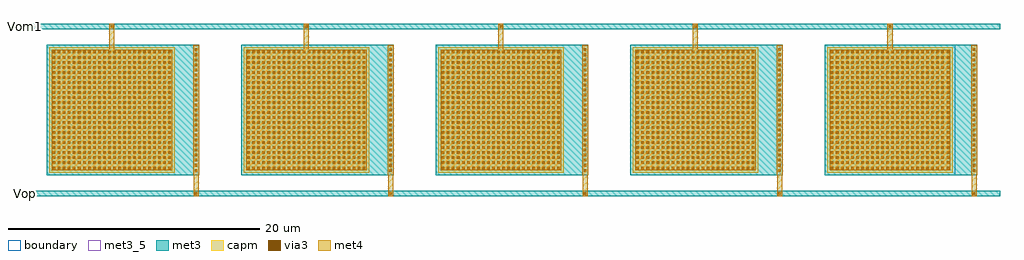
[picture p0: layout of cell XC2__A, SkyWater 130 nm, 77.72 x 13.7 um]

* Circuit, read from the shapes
.subckt XC2__A Vom1 Vop
XC1 Vom1 Vop sky130_fd_pr__cap_mim_m3_1 w=10 l=10 m=5
.ends

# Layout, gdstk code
import gdstk
lib = gdstk.Library(unit=1e-6, precision=1e-09)
def R(c, l, rs):  # rectangles x0, y0, x1, y1
    for r in rs: c.add(gdstk.rectangle(r[:2], r[2:], *l))
def A(c, l, x, y, w, h, nx, ny, dx, dy):  # array of equal rectangles
    R(c, l, [(x+i*dx, y+j*dy, x+i*dx+w, y+j*dy+h) for i in range(nx) for j in range(ny)])
met3_5 = (70, 5)
met3 = (70, 20)
via3 = (70, 44)
met4 = (71, 20)
capm = (89, 44)
boundary = (235, 4)

sky130_fd_pr__cap_mim_m3 = lib.new_cell('sky130_fd_pr__cap_mim_m3_1_DHLNXX')
A(sky130_fd_pr__cap_mim_m3, met3, -37.06, -5.2, 12.16, 10.4, 5, 1, 15.49, 0)
A(sky130_fd_pr__cap_mim_m3, via3, -25.26, -4.9, 0.2, 0.2, 5, 25, 15.49, 0.4)
A(sky130_fd_pr__cap_mim_m3, via3, -36.56, -4.7, 0.2, 0.2, 24, 24, 0.4, 0.4)
A(sky130_fd_pr__cap_mim_m3, via3, -21.07, -4.7, 0.2, 0.2, 24, 24, 0.4, 0.4)
A(sky130_fd_pr__cap_mim_m3, via3, -5.58, -4.7, 0.2, 0.2, 24, 24, 0.4, 0.4)
A(sky130_fd_pr__cap_mim_m3, via3, 9.91, -4.7, 0.2, 0.2, 24, 24, 0.4, 0.4)
A(sky130_fd_pr__cap_mim_m3, via3, 25.4, -4.7, 0.2, 0.2, 24, 24, 0.4, 0.4)
A(sky130_fd_pr__cap_mim_m3, met4, -25.4, -5.14, 0.48, 10.28, 5, 1, 15.49, 0)
A(sky130_fd_pr__cap_mim_m3, met4, -36.665, -4.805, 9.61, 9.61, 5, 1, 15.49, 0)
A(sky130_fd_pr__cap_mim_m3, capm, -36.86, -5, 10, 10, 5, 1, 15.49, 0)
R(sky130_fd_pr__cap_mim_m3, boundary, [(24.9,-5.2,35.3,5.2)])
sky130_fd_pr__cap_mim_m3.add(gdstk.Label('C2_0', (-25.16,0), layer=71, texttype=5))
sky130_fd_pr__cap_mim_m3.add(gdstk.Label('C1_0', (-31.86,0), layer=71, texttype=5))
sky130_fd_pr__cap_mim_m3.add(gdstk.Label('C2_1', (-9.67,0), layer=71, texttype=5))
sky130_fd_pr__cap_mim_m3.add(gdstk.Label('C1_1', (-16.37,0), layer=71, texttype=5))
sky130_fd_pr__cap_mim_m3.add(gdstk.Label('C2_2', (5.82,0), layer=71, texttype=5))
sky130_fd_pr__cap_mim_m3.add(gdstk.Label('C1_2', (-0.88,0), layer=71, texttype=5))
sky130_fd_pr__cap_mim_m3.add(gdstk.Label('C2_3', (21.31,0), layer=71, texttype=5))
sky130_fd_pr__cap_mim_m3.add(gdstk.Label('C1_3', (14.61,0), layer=71, texttype=5))
sky130_fd_pr__cap_mim_m3.add(gdstk.Label('C2_4', (36.8,0), layer=71, texttype=5))
sky130_fd_pr__cap_mim_m3.add(gdstk.Label('C1_4', (30.1,0), layer=71, texttype=5))

xc2_mim = lib.new_cell('XC2_mim')
xc2_mim.add(gdstk.Reference(sky130_fd_pr__cap_mim_m3, (-24.9,5.2)))

xc2__a = lib.new_cell('XC2__A')
R(xc2__a, met3_5, [(-1.7,-1.5,-1.6,-1.4), (-1.7,11.8,-1.6,11.9)])
R(xc2__a, met3, [(-1.8,-1.65,75.92,-1.25), (-1.8,11.65,75.92,12.05)])
A(xc2__a, via3, 11.8, -1.55, 0.2, 0.2, 5, 1, 15.49, 0)
A(xc2__a, via3, 5.1, 11.75, 0.2, 0.2, 5, 1, 15.49, 0)
A(xc2__a, met4, 11.7, -1.65, 0.4, 1.91, 5, 1, 15.49, 0)
A(xc2__a, met4, 5, 9.805, 0.4, 2.245, 5, 1, 15.49, 0)
xc2__a.add(gdstk.Reference(xc2_mim, (61.96,0)))
xc2__a.add(gdstk.Label('Vom1', (-1.65,11.85), layer=70, texttype=5))
xc2__a.add(gdstk.Label('Vop', (-1.65,-1.45), layer=70, texttype=5))

lib.write_gds('XC2__A.gds')
